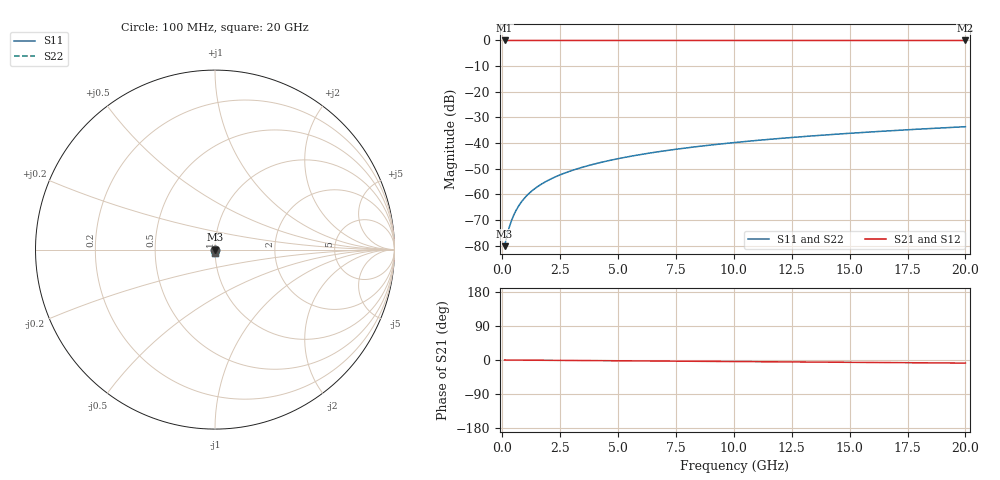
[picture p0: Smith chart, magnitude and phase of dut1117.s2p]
! Touchstone file exported from HFSS 2026.1.0
!  File:  C:/ffzhzh/LocalFiles/Ansys_Project_Files/temp_train_TSV_1117_1783190858_18472.aedt
!  Generated:  02:49:14 AM Jul  5, 2026
!  Design:  TSV
!  Project:  temp_train_TSV_1117_1783190858_18472
! Variables:
!  h_bsmrdl = 2um
!  h_ox = 20um
!  h_rdl = 5um
!  h_sub = 80.58um
!  h_tmrdl = 5um
!  h_tsv = 80.58um
!  h_via = 3um
!  l_bsmrdl = 300um
!  l_sub = 428.96um
!  l_tmrdl = 200um
!  m_sub = 200um
!  pitch = 50.12um
!  r_tsv = 14.48um
!  s_tmrdl = 10um
!  w_bsmrdl = 18um
!  w_sub = 500um
!  w_tmrdl = 12um
!  x_tsv_center1 = 206um
!  x_tsv_center2 = 524um
!  x_tsv_center3 = 736um
!  x_tsv_center4 = 1054um
!  x_tsv_center5 = 1266um
!  x_tsv_center6 = 1584um
# GHz S MA R 50.000000
! Terminal data exported
! Port[1] = TSV1_1_T1
! Port[2] = TSV1_1_T2
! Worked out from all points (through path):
!   200 points, 100 MHz to 20 GHz, reference 50 ohm
!   highest |S21| = 0.00 dB at 100 MHz (marker M1); lowest = 0.0 dB at 20 GHz (marker M2)
!   group delay of S21, straight-line fit = 1.13 ps
!   lowest |S11| = -80.1 dB at 100 MHz (marker M3), VSWR 1.00, Z = 50 - j0.00623 ohm
!   |S11| at or under -10 dB: start of sweep to end of sweep
!   |S22| runs from -80.1 to -33.6 dB; largest |S21 - S12| = 5.3e-15
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0.1  9.839e-05 -39.3  0.9999 -0.0  0.9999 -0.0  9.839e-05 -39.3
! Gamma 0 0 0 0
! Port Impedance 50 0 50 0
0.2  0.000157 -54.9  0.9999 -0.1  0.9999 -0.1  0.000157 -54.9
0.3  0.0002297 -61.3  0.9999 -0.1  0.9999 -0.1  0.0002297 -61.3
0.4  0.0003117 -64.6  0.9999 -0.2  0.9999 -0.2  0.0003117 -64.6
0.5  0.0004005 -66.9  0.9998 -0.2  0.9998 -0.2  0.0004005 -66.9
0.6  0.0004942 -68.8  0.9998 -0.3  0.9998 -0.3  0.0004942 -68.8
0.8  0.0006901 -71.8  0.9998 -0.3  0.9998 -0.3  0.0006901 -71.8
1.1  0.0009927 -75.1  0.9997 -0.5  0.9997 -0.5  0.0009927 -75.1
1.3  0.001196 -76.8  0.9997 -0.5  0.9997 -0.5  0.001196 -76.8
1.5  0.001399 -78.2  0.9997 -0.6  0.9997 -0.6  0.001399 -78.2
1.8  0.001703 -79.8  0.9997 -0.7  0.9997 -0.7  0.001703 -79.8
2.1  0.002008 -81.0  0.9997 -0.9  0.9997 -0.9  0.002008 -81.0
2.7  0.002617 -82.8  0.9996 -1.1  0.9996 -1.1  0.002617 -82.8
3.5  0.003433 -84.3  0.9996 -1.4  0.9996 -1.4  0.003433 -84.3
4.2  0.004153 -85.3  0.9995 -1.7  0.9995 -1.7  0.004153 -85.3
5  0.004981 -86.2  0.9995 -2.1  0.9995 -2.1  0.004981 -86.2
6.8  0.006862 -87.8  0.9994 -2.8  0.9994 -2.8  0.006862 -87.8
8.3  0.008442 -88.9  0.9993 -3.4  0.9993 -3.4  0.008442 -88.9
10.1  0.01034 -90.1  0.9992 -4.1  0.9992 -4.1  0.01034 -90.1
13.4  0.01384 -92.0  0.9991 -5.5  0.9991 -5.5  0.01384 -92.0
16.7  0.01736 -93.7  0.9989 -6.8  0.9989 -6.8  0.01736 -93.7
20  0.02089 -95.3  0.9987 -8.1  0.9987 -8.1  0.02089 -95.3
